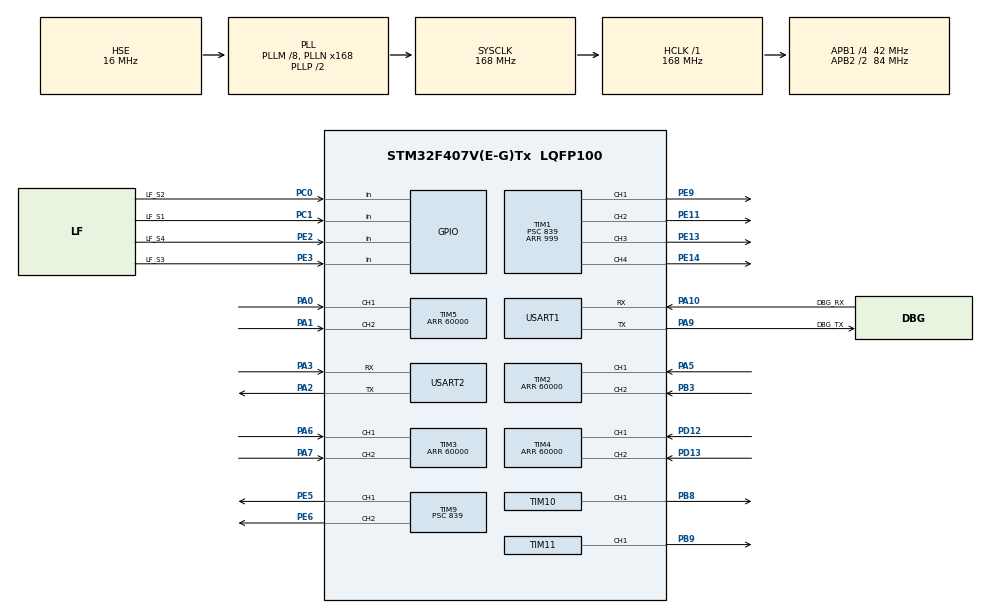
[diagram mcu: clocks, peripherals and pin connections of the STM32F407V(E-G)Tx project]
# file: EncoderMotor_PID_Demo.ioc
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Mcu.Family=STM32F4
Mcu.Name=STM32F407V(E-G)Tx
Mcu.Package=LQFP100
NVIC.PriorityGroup=NVIC_PRIORITYGROUP_4
NVIC.TIM2_IRQn=true\:0\:0\:false\:false\:true\:true\:true\:true
NVIC.TIM3_IRQn=true\:0\:0\:false\:false\:true\:true\:true\:true
NVIC.TIM4_IRQn=true\:0\:0\:false\:false\:true\:true\:true\:true
NVIC.TIM5_IRQn=true\:0\:0\:false\:true\:false\:1\:true\:false\:true
NVIC.TIM6_DAC_IRQn=true\:0\:0\:false\:true\:false\:2\:true\:false\:true
NVIC.TIM8_TRG_COM_TIM14_IRQn=true\:15\:0\:false\:false\:true\:false\:true\:true
NVIC.TimeBase=TIM8_TRG_COM_TIM14_IRQn
NVIC.TimeBaseIP=TIM14
PA0-WKUP.GPIO_PuPd=GPIO_PULLUP
PA0-WKUP.GPIO_Speed=GPIO_SPEED_FREQ_VERY_HIGH
PA0-WKUP.Signal=S_TIM5_CH1
PA1.GPIO_PuPd=GPIO_PULLUP
PA1.GPIO_Speed=GPIO_SPEED_FREQ_VERY_HIGH
PA1.Signal=S_TIM5_CH2
PA10.GPIO_Label=DBG_RX
PA10.Mode=Asynchronous
PA10.Signal=USART1_RX
PA13.Signal=SYS_JTMS-SWDIO
PA14.Signal=SYS_JTCK-SWCLK
PA2.Mode=Asynchronous
PA2.Signal=USART2_TX
PA3.Mode=Asynchronous
PA3.Signal=USART2_RX
PA5.Signal=S_TIM2_CH1_ETR
PA6.Signal=S_TIM3_CH1
PA7.Signal=S_TIM3_CH2
PA9.GPIO_Label=DBG_TX
PA9.Mode=Asynchronous
PA9.Signal=USART1_TX
PB3.Signal=S_TIM2_CH2
PB8.Signal=S_TIM10_CH1
PB9.Signal=S_TIM11_CH1
PC0.GPIO_Label=LF_S2
PC0.Signal=GPIO_Input
PC1.GPIO_Label=LF_S1
PC1.Signal=GPIO_Input
PD12.Signal=S_TIM4_CH1
PD13.Signal=S_TIM4_CH2
PE11.Signal=S_TIM1_CH2
PE13.Signal=S_TIM1_CH3
PE14.Signal=S_TIM1_CH4
PE2.GPIO_Label=LF_S4
PE2.Signal=GPIO_Input
PE3.GPIO_Label=LF_S3
PE3.Signal=GPIO_Input
PE5.Signal=S_TIM9_CH1
PE6.Signal=S_TIM9_CH2
PE9.Signal=S_TIM1_CH1
PH0-OSC_IN.Mode=HSE-External-Oscillator
PH0-OSC_IN.Signal=RCC_OSC_IN
PH1-OSC_OUT.Mode=HSE-External-Oscillator
PH1-OSC_OUT.Signal=RCC_OSC_OUT
ProjectManager.HeapSize=0x200
ProjectManager.StackSize=0x600
ProjectManager.TargetToolchain=STM32CubeIDE
RCC.48MHZClocksFreq_Value=48000000
RCC.AHBFreq_Value=168000000
RCC.APB1CLKDivider=RCC_HCLK_DIV4
RCC.APB1Freq_Value=42000000
RCC.APB1TimFreq_Value=84000000
RCC.APB2CLKDivider=RCC_HCLK_DIV2
RCC.APB2Freq_Value=84000000
RCC.APB2TimFreq_Value=168000000
RCC.CortexFreq_Value=168000000
RCC.EnbaleCSS=true
RCC.HCLKFreq_Value=168000000
RCC.HSE_VALUE=16000000
RCC.HSI_VALUE=16000000
RCC.LSE_VALUE=32768
RCC.PLLM=8
RCC.PLLN=168
RCC.PLLQ=7
RCC.PLLSourceVirtual=RCC_PLLSOURCE_HSE
RCC.SYSCLKFreq_VALUE=168000000
RCC.SYSCLKSource=RCC_SYSCLKSOURCE_PLLCLK
RCC.VCOOutputFreq_Value=336000000
SH.S_TIM10_CH1.0=TIM10_CH1,PWM Generation1 CH1
SH.S_TIM11_CH1.0=TIM11_CH1,PWM Generation1 CH1
SH.S_TIM1_CH1.0=TIM1_CH1,PWM Generation1 CH1
SH.S_TIM1_CH2.0=TIM1_CH2,PWM Generation2 CH2
SH.S_TIM1_CH3.0=TIM1_CH3,PWM Generation3 CH3
SH.S_TIM1_CH4.0=TIM1_CH4,PWM Generation4 CH4
SH.S_TIM2_CH1_ETR.0=TIM2_CH1,Encoder_Interface
SH.S_TIM2_CH2.0=TIM2_CH2,Encoder_Interface
SH.S_TIM3_CH1.0=TIM3_CH1,Encoder_Interface
SH.S_TIM3_CH2.0=TIM3_CH2,Encoder_Interface
SH.S_TIM4_CH1.0=TIM4_CH1,Encoder_Interface
SH.S_TIM4_CH2.0=TIM4_CH2,Encoder_Interface
SH.S_TIM5_CH1.0=TIM5_CH1,Encoder_Interface
SH.S_TIM5_CH2.0=TIM5_CH2,Encoder_Interface
SH.S_TIM9_CH1.0=TIM9_CH1,PWM Generation1 CH1
SH.S_TIM9_CH2.0=TIM9_CH2,PWM Generation2 CH2
TIM1.AutoReloadPreload=TIM_AUTORELOAD_PRELOAD_ENABLE
TIM1.Channel-PWM\ Generation1\ CH1=TIM_CHANNEL_1
TIM1.Channel-PWM\ Generation2\ CH2=TIM_CHANNEL_2
TIM1.Channel-PWM\ Generation3\ CH3=TIM_CHANNEL_3
TIM1.Channel-PWM\ Generation4\ CH4=TIM_CHANNEL_4
TIM1.Period=999
TIM1.Prescaler=839
TIM10.Channel=TIM_CHANNEL_1
TIM10.Period=999
TIM10.Prescaler=839
TIM11.Channel=TIM_CHANNEL_1
TIM11.Period=999
TIM11.Prescaler=839
TIM2.AutoReloadPreload=TIM_AUTORELOAD_PRELOAD_ENABLE
TIM2.EncoderMode=TIM_ENCODERMODE_TI12
TIM2.Period=60000
TIM3.AutoReloadPreload=TIM_AUTORELOAD_PRELOAD_ENABLE
TIM3.EncoderMode=TIM_ENCODERMODE_TI12
TIM3.Period=60000
TIM4.AutoReloadPreload=TIM_AUTORELOAD_PRELOAD_ENABLE
TIM4.EncoderMode=TIM_ENCODERMODE_TI12
TIM4.Period=60000
TIM5.AutoReloadPreload=TIM_AUTORELOAD_PRELOAD_ENABLE
TIM5.EncoderMode=TIM_ENCODERMODE_TI12
TIM5.Period=60000
TIM6.Period=10000
TIM6.Prescaler=83
TIM9.Channel-PWM\ Generation1\ CH1=TIM_CHANNEL_1
TIM9.Channel-PWM\ Generation2\ CH2=TIM_CHANNEL_2
TIM9.Period=999
TIM9.Prescaler=839
USART1.VirtualMode=VM_ASYNC
USART2.VirtualMode=VM_ASYNC
VP_SYS_VS_tim14.Mode=TIM14
VP_TIM10_VS_ClockSourceINT.Mode=Enable_Timer
VP_TIM11_VS_ClockSourceINT.Mode=Enable_Timer
VP_TIM1_VS_ClockSourceINT.Mode=Internal
VP_TIM6_VS_ClockSourceINT.Mode=Enable_Timer
board=custom

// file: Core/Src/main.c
/* USER CODE BEGIN Header */
/**
  ******************************************************************************
  * @file           : main.c
  * @brief          : Main program body
  ******************************************************************************
  * @attention
  *
  * Copyright (c) 2025 STMicroelectronics.
  * All rights reserved.
  *
  * This software is licensed under terms that can be found in the LICENSE file
  * in the root directory of this software component.
  * If no LICENSE file comes with this software, it is provided AS-IS.
  *
  ******************************************************************************
  */
/* USER CODE END Header */
#include "main.h"
#include "tim.h"
#include "usart.h"
#include "gpio.h"

/* USER CODE BEGIN Includes */
#include <stdio.h>
#include "encoder_motor.h"
#include "differential_chassis.h"
#include "motor_porting.h"
#include "line_follower.h"
/* USER CODE END Includes */

void SystemClock_Config(void);
static void MX_NVIC_Init(void);

/* USER CODE BEGIN 0 */
// PID 控制相关变量
static float kp = 0.5f;  // 比例系数
static float ki = 0.1f;  // 积分系数
static float kd = 0.01f; // 微分系数

void line_folower_pid_control()
{
    // 获取 PID 控制输出
    float output = line_folower(kp, ki, kd);  // 调用你之前的 line_folower 函数

    // 设定一个线性速度 vx，假设小车在前进（可以根据需要调整）
    float vx = 2.0f;  // 线性速度，单位：mm/s

    extern EncoderMotorObjectTypeDef motor1;
	extern EncoderMotorObjectTypeDef motor2;
	extern EncoderMotorObjectTypeDef motor3;
	extern EncoderMotorObjectTypeDef motor4;
	float motor_rps = motor1.rps;  // 电机转速，单位 rps（转每秒）

    // 使用 diff_chassis_move 调整小车的运动
    // output 为 PID 计算出的角速度，表示小车需要调整的转向
    if (output > 0) {
        // PID 输出为正，表示小车需要向右调整
        diff_chassis_move(&chassis, vx, -output);  // 调整角速度，右转
    } else if (output < 0) {
        // PID 输出为负，表示小车需要向左调整
        diff_chassis_move(&chassis, vx, -output);  // 调整角速度，左转
    } else {
        // PID 输出为0，表示小车应直行
        diff_chassis_move(&chassis, vx, 0.0f);  // 直行
    }
    printf("Linear Speed (vx): %f mm/s, Angular Speed (output): %f rad/s, Motor RPS: %f\n", vx, output, motor_rps);
}

/* USER CODE END 0 */

int main(void)
{

  /* MCU Configuration--------------------------------------------------------*/

  /* Reset of all peripherals, Initializes the Flash interface and the Systick. */
  HAL_Init();

  /* Configure the system clock */
  SystemClock_Config();

  /* Initialize all configured peripherals */
  MX_GPIO_Init();
  MX_USART1_UART_Init();
  MX_TIM1_Init();
  MX_TIM5_Init();
  MX_TIM6_Init();
  MX_TIM9_Init();
  MX_TIM10_Init();
  MX_TIM11_Init();
  MX_TIM2_Init();
  MX_TIM3_Init();
  MX_TIM4_Init();
  MX_USART2_UART_Init();

  /* Initialize interrupts */
  MX_NVIC_Init();
  /* USER CODE BEGIN 2 */
  motor_init();  // 初始化电机
  extern EncoderMotorObjectTypeDef motor1;
  extern EncoderMotorObjectTypeDef motor2;
  extern EncoderMotorObjectTypeDef motor3;
  extern EncoderMotorObjectTypeDef motor4;
  extern DifferentialChassisTypeDef chassis;
  diff_chassis_object_init(&chassis);  // 初始化差速底盘控制对象
  /* USER CODE END 2 */

  /* Infinite loop */
  while (1)
  {

    /* USER CODE BEGIN 3 */
	  // 1. 直线前进2秒
	  diff_chassis_move(&chassis, 200.0f, 0.0f);
	  HAL_Delay(200);

	  // 2. 停止1秒
	  diff_chassis_move(&chassis, 0.0f, 0.0f);
	  HAL_Delay(3000);

	  // 3. 原地左转2秒
	  diff_chassis_move(&chassis, 0.0f, 1.5f);
	  HAL_Delay(200);

	  // 4. 停止1秒
	  diff_chassis_move(&chassis, 0.0f, 0.0f);
	  HAL_Delay(3000);

	  // 5. 直线后退2秒
	  diff_chassis_move(&chassis, -200.0f, 0.0f);
	  HAL_Delay(200);

	  // 6. 停止1秒
	  diff_chassis_move(&chassis, 0.0f, 0.0f);
	  HAL_Delay(3000);

	  // 7. 原地右转2秒
	  diff_chassis_move(&chassis, 0.0f, -1.5f);
	  HAL_Delay(200);

	  // 8. 停止1秒
	  diff_chassis_move(&chassis, 0.0f, 0.0f);
	  HAL_Delay(3000);
	  // 调用 PID 控制函数来调整小车运动
	  //line_folower_pid_control(&chassis);

	  // 延时，防止 CPU 占用过高
	 // HAL_Delay(10);  // 适当延时，调整控制频率

  }
  /* USER CODE END 3 */
}

void SystemClock_Config(void)
{
  RCC_OscInitTypeDef RCC_OscInitStruct = {0};
  RCC_ClkInitTypeDef RCC_ClkInitStruct = {0};

  /** Configure the main internal regulator output voltage
  */
  __HAL_RCC_PWR_CLK_ENABLE();
  __HAL_PWR_VOLTAGESCALING_CONFIG(PWR_REGULATOR_VOLTAGE_SCALE1);

  /** Initializes the RCC Oscillators according to the specified parameters
  * in the RCC_OscInitTypeDef structure.
  */
  RCC_OscInitStruct.OscillatorType = RCC_OSCILLATORTYPE_HSE;
  RCC_OscInitStruct.HSEState = RCC_HSE_ON;
  RCC_OscInitStruct.PLL.PLLState = RCC_PLL_ON;
  RCC_OscInitStruct.PLL.PLLSource = RCC_PLLSOURCE_HSE;
  RCC_OscInitStruct.PLL.PLLM = 8;
  RCC_OscInitStruct.PLL.PLLN = 168;
  RCC_OscInitStruct.PLL.PLLP = RCC_PLLP_DIV2;
  RCC_OscInitStruct.PLL.PLLQ = 7;
  if (HAL_RCC_OscConfig(&RCC_OscInitStruct) != HAL_OK)
  {
    Error_Handler();
  }

  /** Initializes the CPU, AHB and APB buses clocks
  */
  RCC_ClkInitStruct.ClockType = RCC_CLOCKTYPE_HCLK|RCC_CLOCKTYPE_SYSCLK
                              |RCC_CLOCKTYPE_PCLK1|RCC_CLOCKTYPE_PCLK2;
  RCC_ClkInitStruct.SYSCLKSource = RCC_SYSCLKSOURCE_PLLCLK;
  RCC_ClkInitStruct.AHBCLKDivider = RCC_SYSCLK_DIV1;
  RCC_ClkInitStruct.APB1CLKDivider = RCC_HCLK_DIV4;
  RCC_ClkInitStruct.APB2CLKDivider = RCC_HCLK_DIV2;

  if (HAL_RCC_ClockConfig(&RCC_ClkInitStruct, FLASH_LATENCY_5) != HAL_OK)
  {
    Error_Handler();
  }

  /** Enables the Clock Security System
  */
  HAL_RCC_EnableCSS();
}

/**
  * @brief NVIC Configuration.
  * @retval None
  */
static void MX_NVIC_Init(void)
{
  /* TIM5_IRQn interrupt configuration */
  HAL_NVIC_SetPriority(TIM5_IRQn, 0, 0);
  HAL_NVIC_EnableIRQ(TIM5_IRQn);
  /* TIM6_DAC_IRQn interrupt configuration */
  HAL_NVIC_SetPriority(TIM6_DAC_IRQn, 0, 0);
  HAL_NVIC_EnableIRQ(TIM6_DAC_IRQn);
}

void HAL_TIM_PeriodElapsedCallback(TIM_HandleTypeDef *htim)
{
  if (htim->Instance == TIM14) {
    HAL_IncTick();
  }
}

void Error_Handler(void)
{
  __disable_irq();
  while (1)
  {
  }
}
